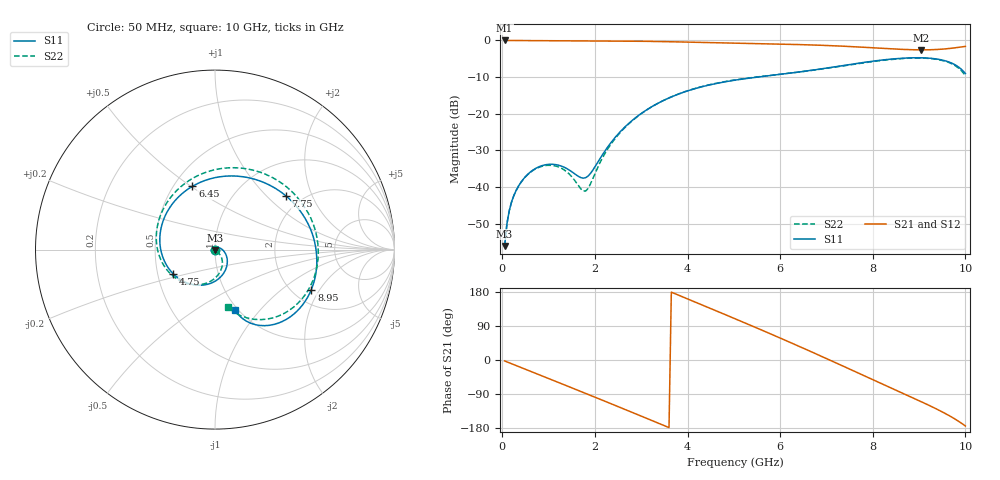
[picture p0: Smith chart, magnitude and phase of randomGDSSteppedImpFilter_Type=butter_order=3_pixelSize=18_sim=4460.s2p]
! freq	dB(S11)	phase(S11)	dB(S12)	phase(S12)
!  dB(S21)	phase(S21)	dB(S22)	phase(S22)
!S-par simulation data
#  GHz  S  DB  R 50
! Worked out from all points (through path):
!   200 points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, 50 MHz to 10 GHz, reference 50 ohm
!   highest |S21| = 0.00 dB at 50 MHz (marker M1); lowest = -2.6 dB at 9.05 GHz (marker M2)
!   group delay of S21, straight-line fit = 146 ps
!   lowest |S11| = -56.1 dB at 50 MHz (marker M3), VSWR 1.00, Z = 50 - j0.156 ohm
!   |S11| at or under -10 dB: start of sweep to 5.507 GHz
!   |S22| runs from -56.1 to -4.8 dB; largest |S21 - S12| = 0
!   S11 on the Smith chart (normalised r, x): 50 MHz: 1.00, -0.00; 4.75 GHz: 0.60, -0.18; 6.45 GHz: 0.62, +0.51; 7.75 GHz: 1.66, +1.31; 8.95 GHz: 2.50, -1.69; 10 GHz: 0.97, -0.74
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0.05  -56.10 -92.9  -0.00 -2.5  -0.00 -2.5  -56.12 -91.9
0.15  -46.47 -99.6  -0.01 -7.4  -0.01 -7.4  -46.47 -97.1
0.25  -42.28 -107.3  -0.01 -12.3  -0.01 -12.3  -42.31 -103.1
0.65  -35.47 -131.6  -0.03 -31.8  -0.03 -31.8  -35.57 -119.1
1.2  -33.99 -171.2  -0.06 -58.7  -0.06 -58.7  -34.45 -137.1
1.75  -37.56 105.6  -0.09 -85.7  -0.09 -85.7  -41.07 -103.8
1.85  -37.02 79.4  -0.09 -90.6  -0.09 -90.6  -40.41 -76.9
2.5  -25.53 -12.6  -0.15 -122.9  -0.15 -122.9  -25.78 -48.7
3.4  -16.88 -71.6  -0.30 -168.3  -0.30 -168.3  -16.88 -83.6
4.05  -13.56 -109.4  -0.47 158.7  -0.47 158.7  -13.52 -112.4
4.75  -11.42 -149.7  -0.66 123.1  -0.66 123.1  -11.35 -143.9
5.05  -10.78 -167.2  -0.75 107.6  -0.75 107.6  -10.72 -157.5
5.75  -9.63 151.4  -0.93 71.2  -0.93 71.2  -9.58 170.3
6.45  -8.54 109.7  -1.14 33.8  -1.14 33.8  -8.55 136.2
6.7  -8.10 95.1  -1.24 20.2  -1.24 20.2  -8.14 123.3
7.2  -7.16 66.7  -1.47 -7.3  -1.47 -7.3  -7.24 96.2
7.75  -6.10 37.1  -1.82 -37.9  -1.82 -37.9  -6.20 64.9
8.35  -5.14 6.6  -2.27 -71.2  -2.27 -71.2  -5.25 29.7
8.95  -4.71 -22.6  -2.55 -104.5  -2.55 -104.5  -4.79 -5.5
9.05  -4.73 -27.4  -2.56 -110.2  -2.56 -110.2  -4.80 -11.5
9.6  -5.69 -54.3  -2.26 -143.5  -2.26 -143.5  -5.82 -46.4
10  -9.03 -71.8  -1.62 -174.2  -1.62 -174.2  -9.65 -77.3
